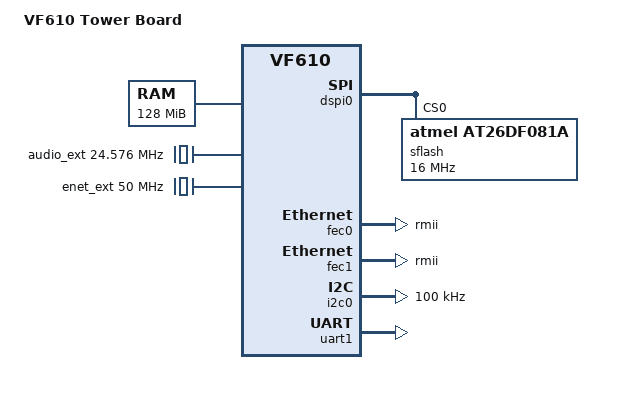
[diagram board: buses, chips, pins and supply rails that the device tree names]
/*
 * Copyright 2013 Freescale Semiconductor, Inc.
 *
 * This program is free software; you can redistribute it and/or modify
 * it under the terms of the GNU General Public License as published by
 * the Free Software Foundation; either version 2 of the License, or
 * (at your option) any later version.
 */

/dts-v1/;
#include "vf610.dtsi"

/ {
	model = "VF610 Tower Board";
	compatible = "fsl,vf610-twr", "fsl,vf610";

	chosen {
		bootargs = "console=ttyLP1,115200";
	};

	memory {
		reg = <0x80000000 0x8000000>;
	};

	clocks {
		audio_ext {
			compatible = "fixed-clock";
			clock-frequency = <24576000>;
		};

		enet_ext {
			compatible = "fixed-clock";
			clock-frequency = <50000000>;
		};
	};

};

&dspi0 {
	bus-num = <0>;
	pinctrl-names = "default";
	pinctrl-0 = <&pinctrl_dspi0>;
	status = "okay";

	sflash: at26df081a@0 {
		#address-cells = <1>;
		#size-cells = <1>;
		compatible = "atmel,at26df081a";
		spi-max-frequency = <16000000>;
		spi-cpol;
		spi-cpha;
		reg = <0>;
	};
};

&fec0 {
	phy-mode = "rmii";
	pinctrl-names = "default";
	pinctrl-0 = <&pinctrl_fec0>;
	status = "okay";
};

&fec1 {
	phy-mode = "rmii";
	pinctrl-names = "default";
	pinctrl-0 = <&pinctrl_fec1>;
	status = "okay";
};

&i2c0 {
	clock-frequency = <100000>;
	pinctrl-names = "default";
	pinctrl-0 = <&pinctrl_i2c0>;
	status = "okay";
};

&iomuxc {
	vf610-twr {
		pinctrl_dspi0: dspi0grp {
			fsl,pins = <VF610_DSPI0_PINGRP1>;
		};

		pinctrl_fec0: fec0grp {
			fsl,pins = <VF610_FEC0_PINGRP1>;
		};

		pinctrl_fec1: fec1grp {
			fsl,pins = <VF610_FEC1_PINGRP1>;
		};

		pinctrl_i2c0: i2c0grp {
			fsl,pins = <VF610_I2C0_PINGRP1>;
		};

		pinctrl_uart1: uart1grp {
			fsl,pins = <VF610_UART1_PINGRP1>;
		};
	};
};

&uart1 {
	pinctrl-names = "default";
	pinctrl-0 = <&pinctrl_uart1>;
	status = "okay";
};
